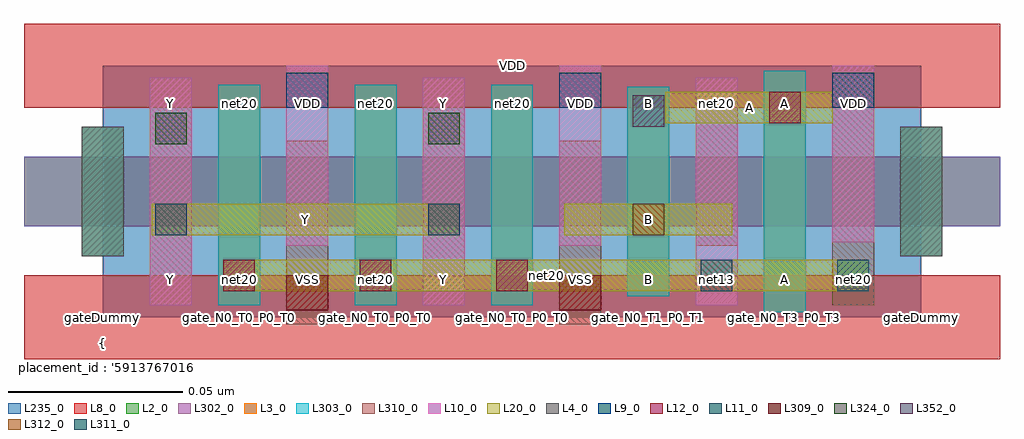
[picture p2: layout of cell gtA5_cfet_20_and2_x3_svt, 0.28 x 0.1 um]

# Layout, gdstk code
import gdstk
lib = gdstk.Library(unit=1e-6, precision=2.5e-10)
def R(c, l, rs):  # rectangles x0, y0, x1, y1
    for r in rs: c.add(gdstk.rectangle(r[:2], r[2:], *l))
def A(c, l, x, y, w, h, nx, ny, dx, dy):  # array of equal rectangles
    R(c, l, [(x+i*dx, y+j*dy, x+i*dx+w, y+j*dy+h) for i in range(nx) for j in range(ny)])
L2_0 = (2, 0)
L3_0 = (3, 0)
L4_0 = (4, 0)
L8_0 = (8, 0)
L9_0 = (9, 0)
L10_0 = (10, 0)
L11_0 = (11, 0)
L12_0 = (12, 0)
L20_0 = (20, 0)
L235_0 = (235, 0)
L302_0 = (302, 0)
L303_0 = (303, 0)
L309_0 = (309, 0)
L310_0 = (310, 0)
L311_0 = (311, 0)
L312_0 = (312, 0)
L324_0 = (324, 0)
L352_0 = (352, 0)

gta5_cfet_20_and2_x3_svt = lib.new_cell('gtA5_cfet_20_and2_x3_svt')
R(gta5_cfet_20_and2_x3_svt, L2_0, [(-0.0225,0.026,0.2565,0.046)])
A(gta5_cfet_20_and2_x3_svt, L3_0, 0.033, 0.0035, 0.012, 0.063, 3, 1, 0.039, 0)
R(gta5_cfet_20_and2_x3_svt, L3_0, [(0.189,0.0015,0.201,0.0705), (0.15,0.006,0.162,0.066), (-0.006,0.0175,0.006,0.0545), (0.228,0.0175,0.24,0.0545)])
R(gta5_cfet_20_and2_x3_svt, L4_0, [(-0.006,0.0175,0.006,0.0545), (0.228,0.0175,0.24,0.0545)])
R(gta5_cfet_20_and2_x3_svt, L8_0, [(-0.0225,-0.012,0.2565,0.012), (-0.0225,0.06,0.2565,0.084)])
A(gta5_cfet_20_and2_x3_svt, L9_0, 0.0525, 0.06, 0.012, 0.01, 3, 1, 0.078, 0)
A(gta5_cfet_20_and2_x3_svt, L10_0, 0.0135, 0.0035, 0.012, 0.065, 3, 1, 0.078, 0)
R(gta5_cfet_20_and2_x3_svt, L10_0, [(0.0525,0.0205,0.0645,0.072), (0.1305,0.0205,0.1425,0.072), (0.2085,0.0215,0.2205,0.072)])
R(gta5_cfet_20_and2_x3_svt, L11_0, [(0.171,0.0075,0.18,0.0165), (0.015,0.0235,0.024,0.0325), (0.093,0.0235,0.102,0.0325)])
A(gta5_cfet_20_and2_x3_svt, L12_0, 0.0345, 0.0075, 0.009, 0.009, 3, 1, 0.039, 0)
R(gta5_cfet_20_and2_x3_svt, L12_0, [(0.1905,0.0555,0.1995,0.0645)])
R(gta5_cfet_20_and2_x3_svt, L20_0, [(0.0345,0.0075,0.219,0.0165), (0.014,0.0235,0.102,0.0325), (0.132,0.0235,0.18,0.0325), (0.1608,0.0555,0.2087,0.0645)])
R(gta5_cfet_20_and2_x3_svt, L235_0, [(0,0,0.234,0.072)])
R(gta5_cfet_20_and2_x3_svt, L302_0, [(-0.0225,0.026,0.2565,0.046)])
A(gta5_cfet_20_and2_x3_svt, L303_0, 0.033, 0.0035, 0.012, 0.063, 3, 1, 0.039, 0)
R(gta5_cfet_20_and2_x3_svt, L303_0, [(0.189,0.0015,0.201,0.0705), (0.15,0.006,0.162,0.066), (-0.006,0.0175,0.006,0.0545), (0.228,0.0175,0.24,0.0545)])
R(gta5_cfet_20_and2_x3_svt, L309_0, [(0.0525,0.002,0.0645,0.012), (0.1305,0.002,0.1425,0.012)])
R(gta5_cfet_20_and2_x3_svt, L310_0, [(0.0525,-0.002,0.0645,0.0505), (0.1305,-0.002,0.1425,0.0505), (0.0135,0.0035,0.0255,0.0685), (0.0915,0.0035,0.1035,0.0685), (0.2085,0.0035,0.2205,0.072), (0.1695,0.0205,0.1815,0.0685)])
R(gta5_cfet_20_and2_x3_svt, L311_0, [(0.21,0.0075,0.219,0.0165)])
R(gta5_cfet_20_and2_x3_svt, L312_0, [(0.1515,0.0235,0.1605,0.0325)])
R(gta5_cfet_20_and2_x3_svt, L324_0, [(0.015,0.0495,0.024,0.0585), (0.093,0.0495,0.102,0.0585)])
R(gta5_cfet_20_and2_x3_svt, L352_0, [(0.1515,0.0545,0.1605,0.0635)])
gta5_cfet_20_and2_x3_svt.add(gdstk.Label('net20', (0.1268,0.012), layer=100, texttype=100))
gta5_cfet_20_and2_x3_svt.add(gdstk.Label('gateDummy', (0,0), layer=103, texttype=103))
gta5_cfet_20_and2_x3_svt.add(gdstk.Label('sd_N0_T1_P0_T1', (0.0195,0), layer=103, texttype=103))
gta5_cfet_20_and2_x3_svt.add(gdstk.Label('gate_N0_T0_P0_T0', (0.039,0), layer=103, texttype=103))
gta5_cfet_20_and2_x3_svt.add(gdstk.Label('sd_N0_VSS_P0_VDD', (0.0585,0), layer=103, texttype=103))
gta5_cfet_20_and2_x3_svt.add(gdstk.Label('gate_N0_T0_P0_T0', (0.078,0), layer=103, texttype=103))
gta5_cfet_20_and2_x3_svt.add(gdstk.Label('sd_N0_T1_P0_T1', (0.0975,0), layer=103, texttype=103))
gta5_cfet_20_and2_x3_svt.add(gdstk.Label('gate_N0_T0_P0_T0', (0.117,0), layer=103, texttype=103))
gta5_cfet_20_and2_x3_svt.add(gdstk.Label('sd_N0_VSS_P0_VDD', (0.1365,0), layer=103, texttype=103))
gta5_cfet_20_and2_x3_svt.add(gdstk.Label('gate_N0_T1_P0_T1', (0.156,0), layer=103, texttype=103))
gta5_cfet_20_and2_x3_svt.add(gdstk.Label('sd_N0_abut_P0_T0', (0.1755,0), layer=103, texttype=103))
gta5_cfet_20_and2_x3_svt.add(gdstk.Label('gate_N0_T3_P0_T3', (0.195,0), layer=103, texttype=103))
gta5_cfet_20_and2_x3_svt.add(gdstk.Label('sd_N0_T0_P0_VDD', (0.2145,0), layer=103, texttype=103))
gta5_cfet_20_and2_x3_svt.add(gdstk.Label('gateDummy', (0.234,0), layer=103, texttype=103))
gta5_cfet_20_and2_x3_svt.add(gdstk.Label('}', (0,-0.0785), layer=104, texttype=104))
gta5_cfet_20_and2_x3_svt.add(gdstk.Label('  power : None', (0,-0.0713), layer=104, texttype=104))
gta5_cfet_20_and2_x3_svt.add(gdstk.Label('  performance : None', (0,-0.0643), layer=104, texttype=104))
gta5_cfet_20_and2_x3_svt.add(gdstk.Label("  solution_hash : '13941773351712275626'", (0,-0.057), layer=104, texttype=104))
gta5_cfet_20_and2_x3_svt.add(gdstk.Label('  number_m2 : 0', (0,-0.05), layer=104, texttype=104))
gta5_cfet_20_and2_x3_svt.add(gdstk.Label('  number_m1 : 0', (0,-0.0428), layer=104, texttype=104))
gta5_cfet_20_and2_x3_svt.add(gdstk.Label('  number_m0cuts : 0', (0,-0.0358), layer=104, texttype=104))
gta5_cfet_20_and2_x3_svt.add(gdstk.Label('  number_m0 : 4', (0,-0.0285), layer=104, texttype=104))
gta5_cfet_20_and2_x3_svt.add(gdstk.Label("  solution_number : '0000'", (0,-0.0215), layer=104, texttype=104))
gta5_cfet_20_and2_x3_svt.add(gdstk.Label("  placement_id : '5913767016176827865'", (0,-0.0143), layer=104, texttype=104))
gta5_cfet_20_and2_x3_svt.add(gdstk.Label('{', (0,-0.0073), layer=104, texttype=104))
gta5_cfet_20_and2_x3_svt.add(gdstk.Label('Y', (0.0195,0.0108), layer=105, texttype=105))
gta5_cfet_20_and2_x3_svt.add(gdstk.Label('net20', (0.039,0.0108), layer=105, texttype=105))
gta5_cfet_20_and2_x3_svt.add(gdstk.Label('VSS', (0.0585,0.0108), layer=105, texttype=105))
gta5_cfet_20_and2_x3_svt.add(gdstk.Label('net20', (0.078,0.0108), layer=105, texttype=105))
gta5_cfet_20_and2_x3_svt.add(gdstk.Label('Y', (0.0975,0.0108), layer=105, texttype=105))
gta5_cfet_20_and2_x3_svt.add(gdstk.Label('net20', (0.117,0.0108), layer=105, texttype=105))
gta5_cfet_20_and2_x3_svt.add(gdstk.Label('VSS', (0.1365,0.0108), layer=105, texttype=105))
gta5_cfet_20_and2_x3_svt.add(gdstk.Label('B', (0.156,0.0108), layer=105, texttype=105))
gta5_cfet_20_and2_x3_svt.add(gdstk.Label('net13', (0.1755,0.0108), layer=105, texttype=105))
gta5_cfet_20_and2_x3_svt.add(gdstk.Label('A', (0.195,0.0108), layer=105, texttype=105))
gta5_cfet_20_and2_x3_svt.add(gdstk.Label('net20', (0.2145,0.0108), layer=105, texttype=105))
gta5_cfet_20_and2_x3_svt.add(gdstk.Label('Y', (0.0195,0.0612), layer=105, texttype=105))
gta5_cfet_20_and2_x3_svt.add(gdstk.Label('net20', (0.039,0.0612), layer=105, texttype=105))
gta5_cfet_20_and2_x3_svt.add(gdstk.Label('VDD', (0.0585,0.0612), layer=105, texttype=105))
gta5_cfet_20_and2_x3_svt.add(gdstk.Label('net20', (0.078,0.0612), layer=105, texttype=105))
gta5_cfet_20_and2_x3_svt.add(gdstk.Label('Y', (0.0975,0.0612), layer=105, texttype=105))
gta5_cfet_20_and2_x3_svt.add(gdstk.Label('net20', (0.117,0.0612), layer=105, texttype=105))
gta5_cfet_20_and2_x3_svt.add(gdstk.Label('VDD', (0.1365,0.0612), layer=105, texttype=105))
gta5_cfet_20_and2_x3_svt.add(gdstk.Label('B', (0.156,0.0612), layer=105, texttype=105))
gta5_cfet_20_and2_x3_svt.add(gdstk.Label('net20', (0.1755,0.0612), layer=105, texttype=105))
gta5_cfet_20_and2_x3_svt.add(gdstk.Label('A', (0.195,0.0612), layer=105, texttype=105))
gta5_cfet_20_and2_x3_svt.add(gdstk.Label('VDD', (0.2145,0.0612), layer=105, texttype=105))
gta5_cfet_20_and2_x3_svt.add(gdstk.Label('VSS', (0.117,0), layer=8, texttype=0))
gta5_cfet_20_and2_x3_svt.add(gdstk.Label('VDD', (0.117,0.072), layer=8, texttype=0))
gta5_cfet_20_and2_x3_svt.add(gdstk.Label('Y', (0.058,0.028), layer=20, texttype=251))
gta5_cfet_20_and2_x3_svt.add(gdstk.Label('B', (0.156,0.028), layer=20, texttype=251))
gta5_cfet_20_and2_x3_svt.add(gdstk.Label('A', (0.1847,0.06), layer=20, texttype=251))
gta5_cfet_20_and2_x3_svt.add(gdstk.Label('gtA5_cfet_20_and2_x3_rvt_0', (0,0), layer=235, texttype=0))

lib.write_gds('gtA5_cfet_20_and2_x3_svt.gds')
